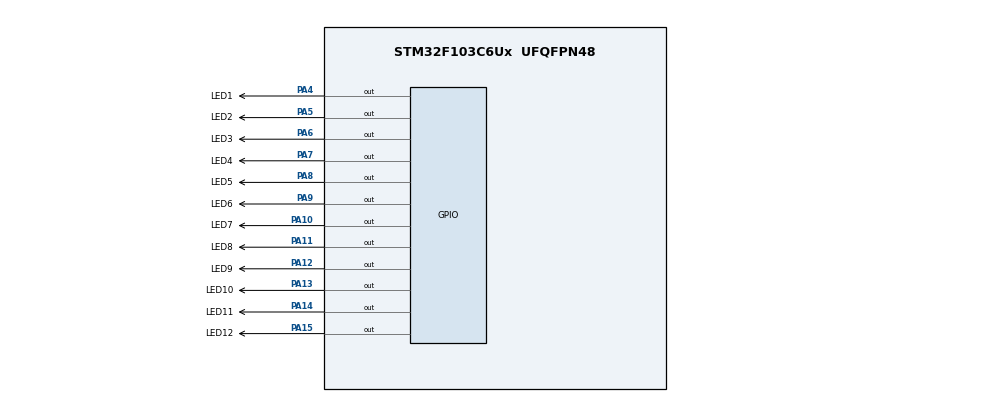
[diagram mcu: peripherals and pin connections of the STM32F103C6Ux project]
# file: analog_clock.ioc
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Mcu.Family=STM32F1
Mcu.Name=STM32F103C6Ux
Mcu.Package=UFQFPN48
NVIC.PriorityGroup=NVIC_PRIORITYGROUP_4
NVIC.TIM2_IRQn=true\:0\:0\:false\:false\:true\:true\:true
PA10.GPIO_Label=LED7
PA10.Signal=GPIO_Output
PA11.GPIO_Label=LED8
PA11.Signal=GPIO_Output
PA12.GPIO_Label=LED9
PA12.Signal=GPIO_Output
PA13.GPIO_Label=LED10
PA13.Signal=GPIO_Output
PA14.GPIO_Label=LED11
PA14.Signal=GPIO_Output
PA15.GPIO_Label=LED12
PA15.Signal=GPIO_Output
PA4.GPIO_Label=LED1
PA4.Signal=GPIO_Output
PA5.GPIO_Label=LED2
PA5.Signal=GPIO_Output
PA6.GPIO_Label=LED3
PA6.Signal=GPIO_Output
PA7.GPIO_Label=LED4
PA7.Signal=GPIO_Output
PA8.GPIO_Label=LED5
PA8.Signal=GPIO_Output
PA9.GPIO_Label=LED6
PA9.Signal=GPIO_Output
ProjectManager.HeapSize=0x200
ProjectManager.StackSize=0x400
ProjectManager.TargetToolchain=STM32CubeIDE
RCC.APB1Freq_Value=8000000
RCC.APB2Freq_Value=8000000
TIM2.Period=9
TIM2.Prescaler=7999
VP_SYS_VS_ND.Mode=No_Debug
VP_TIM2_VS_ClockSourceINT.Mode=Internal
board=custom

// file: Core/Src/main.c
/* USER CODE BEGIN Header */
/**
  ******************************************************************************
  * @file           : main.c
  * @brief          : Main program body
  ******************************************************************************
  * @attention
  *
  * <h2><center>&copy; Copyright (c) 2024 STMicroelectronics.
  * All rights reserved.</center></h2>
  *
  * This software component is licensed by ST under BSD 3-Clause license,
  * the "License"; You may not use this file except in compliance with the
  * License. You may obtain a copy of the License at:
  *                        opensource.org/licenses/BSD-3-Clause
  *
  ******************************************************************************
  */
/* USER CODE END Header */
#include "main.h"
#include<software_timer.h>

TIM_HandleTypeDef htim2;

void SystemClock_Config(void);
static void MX_TIM2_Init(void);
static void MX_GPIO_Init(void);

/* USER CODE BEGIN 0 */
void clearAllClock(){
	HAL_GPIO_WritePin(GPIOA, LED1_Pin|LED2_Pin|LED3_Pin|LED4_Pin
		                            |LED5_Pin|LED6_Pin|LED7_Pin|LED8_Pin
		                            |LED9_Pin|LED10_Pin|LED11_Pin|LED12_Pin, GPIO_PIN_RESET);
}
void setNumberOnClock(int num){

	  switch(num){
	  case 0 :
		  HAL_GPIO_WritePin(GPIOA,LED11_Pin,GPIO_PIN_SET);
		  break;

	  case 1 :
		  HAL_GPIO_WritePin(GPIOA,LED12_Pin,GPIO_PIN_SET);
		  break;

	  case 2 :
		  HAL_GPIO_WritePin(GPIOA,LED1_Pin,GPIO_PIN_SET);
		  break;

	  case 3 :
		  HAL_GPIO_WritePin(GPIOA,LED2_Pin,GPIO_PIN_SET);
		  break;

	  case 4 :
		  HAL_GPIO_WritePin(GPIOA,LED3_Pin,GPIO_PIN_SET);
		  break;

	  case 5 :
		  HAL_GPIO_WritePin(GPIOA,LED4_Pin,GPIO_PIN_SET);
		  break;

	  case 6 :
		  HAL_GPIO_WritePin(GPIOA,LED5_Pin,GPIO_PIN_SET);
		  break;

	  case 7 :
		  HAL_GPIO_WritePin(GPIOA,LED6_Pin,GPIO_PIN_SET);
		  break;

	  case 8 :
		  HAL_GPIO_WritePin(GPIOA,LED7_Pin,GPIO_PIN_SET);
		  break;
	  case 9 :
	  		  HAL_GPIO_WritePin(GPIOA,LED8_Pin,GPIO_PIN_SET);
	  		  break;
	  case 10 :
	  		  HAL_GPIO_WritePin(GPIOA,LED9_Pin,GPIO_PIN_SET);
	  		  break;
	  case 11 :
	  		  HAL_GPIO_WritePin(GPIOA,LED10_Pin,GPIO_PIN_SET);
	  		  break;

	  }
}
/* USER CODE END 0 */
void clearNumberOnClock(int num){

	  switch(num){
	  case 0 :
		  HAL_GPIO_WritePin(GPIOA,LED11_Pin,GPIO_PIN_RESET);
		  break;

	  case 1 :
		  HAL_GPIO_WritePin(GPIOA,LED12_Pin,GPIO_PIN_RESET);
		  break;

	  case 2 :
		  HAL_GPIO_WritePin(GPIOA,LED1_Pin,GPIO_PIN_RESET);
		  break;

	  case 3 :
		  HAL_GPIO_WritePin(GPIOA,LED2_Pin,GPIO_PIN_RESET);
		  break;

	  case 4 :
		  HAL_GPIO_WritePin(GPIOA,LED3_Pin,GPIO_PIN_RESET);
		  break;

	  case 5 :
		  HAL_GPIO_WritePin(GPIOA,LED4_Pin,GPIO_PIN_RESET);
		  break;

	  case 6 :
		  HAL_GPIO_WritePin(GPIOA,LED5_Pin,GPIO_PIN_RESET);
		  break;

	  case 7 :
		  HAL_GPIO_WritePin(GPIOA,LED6_Pin,GPIO_PIN_RESET);
		  break;

	  case 8 :
		  HAL_GPIO_WritePin(GPIOA,LED7_Pin,GPIO_PIN_RESET);
		  break;
	  case 9 :
		  HAL_GPIO_WritePin(GPIOA,LED8_Pin,GPIO_PIN_RESET);
	  		break;
	  case 10 :
		  HAL_GPIO_WritePin(GPIOA,LED9_Pin,GPIO_PIN_RESET);
	  		break;
	  case 11 :
		  HAL_GPIO_WritePin(GPIOA,LED10_Pin,GPIO_PIN_RESET);
		  break;

	  }
}
int main(void)
{

  /* MCU Configuration--------------------------------------------------------*/

  /* Reset of all peripherals, Initializes the Flash interface and the Systick. */
  HAL_Init();

  /* Configure the system clock */
  SystemClock_Config();

  /* Initialize all configured peripherals */
  MX_TIM2_Init();
  MX_GPIO_Init();
  /* USER CODE BEGIN 2 */
  HAL_TIM_Base_Start_IT (& htim2 ) ;
  /* USER CODE END 2 */

  /* Infinite loop */
  /* USER CODE BEGIN WHILE */
  int c=10;
  setTimer(0,c);
  setTimer(1,12*c);
  setTimer(2,144*c);
  int s=0;
  int m=0;
  int h=0;
  setNumberOnClock(0);
  while (1)
  {
    /* USER CODE END WHILE */
	  if (isTimerExpired(0)){
		  setTimer(0,c);

		  if(m!=s && h!=s){
		  clearNumberOnClock(s);
		  }
		  s=(s+1)%12;
		  setNumberOnClock(s);
		  if(isTimerExpired(1)){
			  setTimer(1,12*c);
			  if(s!=m && m!=h){
			  clearNumberOnClock(m);
			  }
			  m=(m+1)%12;
			  setNumberOnClock(m);
			  if(isTimerExpired(2)){
				  	 setTimer(2,144*c);
				  	if(h!=m && h!=s){
			  		clearNumberOnClock(h);
				  	}
			  		h=(h+1)%12;
			  		setNumberOnClock(h);
			  }

		  }

	  }

  }
}

void SystemClock_Config(void)
{
  RCC_OscInitTypeDef RCC_OscInitStruct = {0};
  RCC_ClkInitTypeDef RCC_ClkInitStruct = {0};

  /** Initializes the RCC Oscillators according to the specified parameters
  * in the RCC_OscInitTypeDef structure.
  */
  RCC_OscInitStruct.OscillatorType = RCC_OSCILLATORTYPE_HSI;
  RCC_OscInitStruct.HSIState = RCC_HSI_ON;
  RCC_OscInitStruct.HSICalibrationValue = RCC_HSICALIBRATION_DEFAULT;
  RCC_OscInitStruct.PLL.PLLState = RCC_PLL_NONE;
  if (HAL_RCC_OscConfig(&RCC_OscInitStruct) != HAL_OK)
  {
    Error_Handler();
  }
  /** Initializes the CPU, AHB and APB buses clocks
  */
  RCC_ClkInitStruct.ClockType = RCC_CLOCKTYPE_HCLK|RCC_CLOCKTYPE_SYSCLK
                              |RCC_CLOCKTYPE_PCLK1|RCC_CLOCKTYPE_PCLK2;
  RCC_ClkInitStruct.SYSCLKSource = RCC_SYSCLKSOURCE_HSI;
  RCC_ClkInitStruct.AHBCLKDivider = RCC_SYSCLK_DIV1;
  RCC_ClkInitStruct.APB1CLKDivider = RCC_HCLK_DIV1;
  RCC_ClkInitStruct.APB2CLKDivider = RCC_HCLK_DIV1;

  if (HAL_RCC_ClockConfig(&RCC_ClkInitStruct, FLASH_LATENCY_0) != HAL_OK)
  {
    Error_Handler();
  }
}

static void MX_TIM2_Init(void)
{

  TIM_ClockConfigTypeDef sClockSourceConfig = {0};
  TIM_MasterConfigTypeDef sMasterConfig = {0};

  htim2.Instance = TIM2;
  htim2.Init.Prescaler = 7999;
  htim2.Init.CounterMode = TIM_COUNTERMODE_UP;
  htim2.Init.Period = 9;
  htim2.Init.ClockDivision = TIM_CLOCKDIVISION_DIV1;
  htim2.Init.AutoReloadPreload = TIM_AUTORELOAD_PRELOAD_DISABLE;
  if (HAL_TIM_Base_Init(&htim2) != HAL_OK)
  {
    Error_Handler();
  }
  sClockSourceConfig.ClockSource = TIM_CLOCKSOURCE_INTERNAL;
  if (HAL_TIM_ConfigClockSource(&htim2, &sClockSourceConfig) != HAL_OK)
  {
    Error_Handler();
  }
  sMasterConfig.MasterOutputTrigger = TIM_TRGO_RESET;
  sMasterConfig.MasterSlaveMode = TIM_MASTERSLAVEMODE_DISABLE;
  if (HAL_TIMEx_MasterConfigSynchronization(&htim2, &sMasterConfig) != HAL_OK)
  {
    Error_Handler();
  }

}

static void MX_GPIO_Init(void)
{
  GPIO_InitTypeDef GPIO_InitStruct = {0};

  /* GPIO Ports Clock Enable */
  __HAL_RCC_GPIOA_CLK_ENABLE();

  /*Configure GPIO pin Output Level */
  HAL_GPIO_WritePin(GPIOA, LED1_Pin|LED2_Pin|LED3_Pin|LED4_Pin
                          |LED5_Pin|LED6_Pin|LED7_Pin|LED8_Pin
                          |LED9_Pin|LED10_Pin|LED11_Pin|LED12_Pin, GPIO_PIN_RESET);

  /*Configure GPIO pins : LED1_Pin LED2_Pin LED3_Pin LED4_Pin
                           LED5_Pin LED6_Pin LED7_Pin LED8_Pin
                           LED9_Pin LED10_Pin LED11_Pin LED12_Pin */
  GPIO_InitStruct.Pin = LED1_Pin|LED2_Pin|LED3_Pin|LED4_Pin
                          |LED5_Pin|LED6_Pin|LED7_Pin|LED8_Pin
                          |LED9_Pin|LED10_Pin|LED11_Pin|LED12_Pin;
  GPIO_InitStruct.Mode = GPIO_MODE_OUTPUT_PP;
  GPIO_InitStruct.Pull = GPIO_NOPULL;
  GPIO_InitStruct.Speed = GPIO_SPEED_FREQ_LOW;
  HAL_GPIO_Init(GPIOA, &GPIO_InitStruct);

}

/* USER CODE BEGIN 4 */
void HAL_TIM_PeriodElapsedCallback ( TIM_HandleTypeDef * htim ){

	timerRun();
}
/* USER CODE END 4 */

void Error_Handler(void)
{
  __disable_irq();
  while (1)
  {
  }
}

/************************ (C) COPYRIGHT STMicroelectronics *****END OF FILE****/
